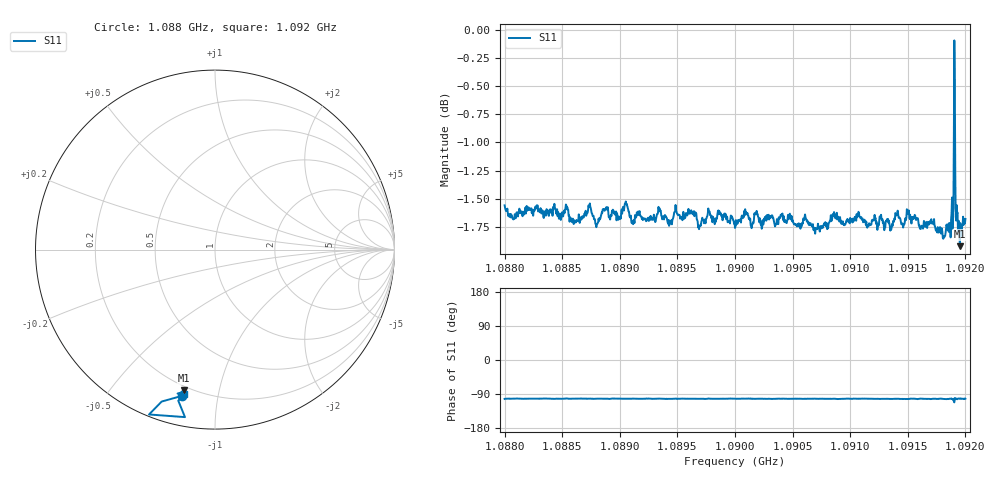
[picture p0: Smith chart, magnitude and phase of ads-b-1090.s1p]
! Calibrated averaged scanner-service zoom
# Hz S RI R 50
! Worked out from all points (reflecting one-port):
!   1001 points, 1.088 GHz to 1.092 GHz, reference 50 ohm
!   lowest |S11| = -1.9 dB at 1.09195 GHz (marker M1), VSWR 9.07, Z = 9.01 - j39.4 ohm
!   phase of S11 starts at -103 deg and turns +0 deg over the sweep
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1.088e9  -0.1828 -0.8154
1.088092e9  -0.1703 -0.8098
1.0885e9  -0.1748 -0.8111
1.089e9  -0.1755 -0.8052
1.089048e9  -0.1752 -0.8182
1.089108e9  -0.1733 -0.8031
1.08934e9  -0.1707 -0.8136
1.089432e9  -0.1803 -0.8006
1.0895e9  -0.1752 -0.8094
1.09e9  -0.1707 -0.7984
1.0905e9  -0.1732 -0.8048
1.090896e9  -0.1837 -0.805
1.091e9  -0.1741 -0.8063
1.09136e9  -0.1816 -0.7963
1.0915e9  -0.187 -0.8087
1.091544e9  -0.1734 -0.8073
1.09158e9  -0.189 -0.8019
1.09162e9  -0.171 -0.8003
1.09182e9  -0.1775 -0.7898
1.091876e9  -0.1788 -0.8042
1.091884e9  -0.1851 -0.8218
1.091892e9  -0.2088 -0.8021
1.091908e9  -0.1673 -0.9333
1.09192e9  -0.1841 -0.8018
1.091928e9  -0.1954 -0.8054
1.091932e9  -0.1788 -0.81
1.091952e9  -0.1713 -0.7828
1.092e9  -0.174 -0.8055
